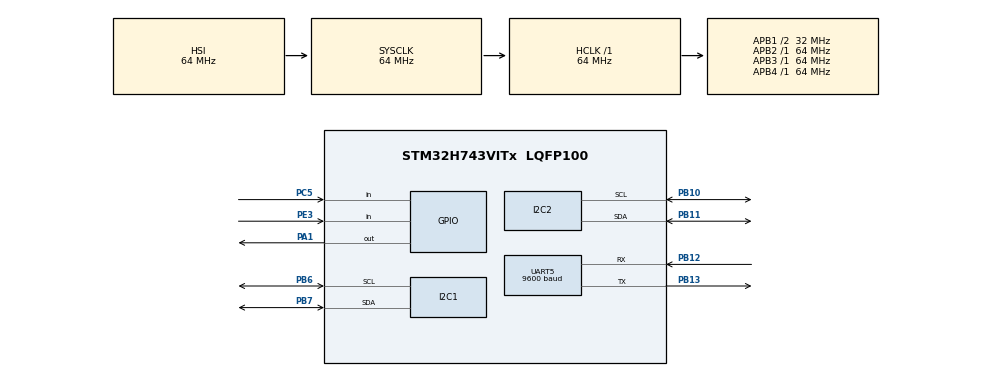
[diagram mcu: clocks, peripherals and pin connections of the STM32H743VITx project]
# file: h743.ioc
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I2C1.OwnAddress=0x76
I2C1.Timing=0x00707CBB
I2C2.OwnAddress=0x78
I2C2.Timing=0x00707CBB
Mcu.Family=STM32H7
Mcu.Name=STM32H743VITx
Mcu.Package=LQFP100
NVIC.PriorityGroup=NVIC_PRIORITYGROUP_4
NVIC.TIM6_DAC_IRQn=true\:0\:0\:false\:false\:true\:true\:true\:true
NVIC.UART5_IRQn=true\:0\:0\:false\:false\:true\:true\:true\:true
PA1.Signal=GPIO_Output
PB10.Mode=I2C
PB10.Signal=I2C2_SCL
PB11.Mode=I2C
PB11.Signal=I2C2_SDA
PB12.Mode=Asynchronous
PB12.Signal=UART5_RX
PB13.Mode=Asynchronous
PB13.Signal=UART5_TX
PB6.Mode=I2C
PB6.Signal=I2C1_SCL
PB7.Mode=I2C
PB7.Signal=I2C1_SDA
PC5.Signal=GPIO_Input
PE3.GPIO_PuPd=GPIO_PULLUP
PE3.Signal=GPIO_Input
ProjectManager.HeapSize=0x200
ProjectManager.StackSize=0x400
ProjectManager.TargetToolchain=STM32CubeIDE
RCC.ADCFreq_Value=129000000
RCC.APB1Freq_Value=32000000
RCC.APB2Freq_Value=64000000
RCC.APB3Freq_Value=64000000
RCC.APB4Freq_Value=64000000
RCC.CECEnable-ClockTree=true
RCC.CortexFreq_Value=64000000
RCC.D2PPRE1=RCC_APB1_DIV2
RCC.HCLKFreq_Value=64000000
RCC.HSE_VALUE=25000000
RCC.LPTIM2Enable-ClockTree=true
RCC.LPTIM345Enable-ClockTree=false
RCC.PLL1_VCO_SEL-AdvancedSettings=RCC_PLL1VCOMEDIUM
RCC.PLL2_VCI_Range-AdvancedSettings=RCC_PLL2VCIRANGE_0
RCC.PWR_Regulator_Voltage_Scale=PWR_REGULATOR_VOLTAGE_SCALE1
RCC.SYSCLKFreq_VALUE=64000000
RCC.USBFreq_Value=129000000
TIM6.AutoReloadPreload=TIM_AUTORELOAD_PRELOAD_ENABLE
TIM6.Period=5000-1
TIM6.Prescaler=6400-1
UART5.BaudRate=9600
VP_TIM6_VS_ClockSourceINT.Mode=Enable_Timer
board=custom

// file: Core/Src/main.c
/* USER CODE BEGIN Header */
/**
  ******************************************************************************
  * @file           : main.c
  * @brief          : Main program body
  ******************************************************************************
  * @attention
  *
  * Copyright (c) 2023 STMicroelectronics.
  * All rights reserved.
  *
  * This software is licensed under terms that can be found in the LICENSE file
  * in the root directory of this software component.
  * If no LICENSE file comes with this software, it is provided AS-IS.
  *
  ******************************************************************************
  */
#include <stdio.h>
#include <string.h>
#include <stdlib.h>
#include "bmp/bmp280.h"
#include "oled/ssd1306.h"
/* USER CODE END Header */
#include "main.h"

I2C_HandleTypeDef hi2c1;
I2C_HandleTypeDef hi2c2;

TIM_HandleTypeDef htim6;

UART_HandleTypeDef huart5;

/* USER CODE BEGIN PV */
uint8_t Buffer[256];
char buf[1024];
int length;
/* USER CODE END PV */

void SystemClock_Config(void);

static void MX_GPIO_Init(void);

static void MX_I2C1_Init(void);

static void MX_I2C2_Init(void);

static void MX_TIM6_Init(void);

static void MX_UART5_Init(void);

/* USER CODE BEGIN 0 */

void OLED_Write(uint8_t x, uint8_t y, char *text) {
    ssd1306_SetCursor(x, y);
    ssd1306_WriteString(text, Font_11x18, White);
}

void OLED_Show(float value, char *prefix, char *unit) {
    ssd1306_Fill(Black);
    OLED_Write(1, 5, prefix);
    uint8_t *tempText[256];
    sprintf((char *) tempText, "%.2f %s", value, unit);
    OLED_Write(1, 25, (char *) tempText);
    ssd1306_UpdateScreen();
}

void HAL_TIM_PeriodElapsedCallback(TIM_HandleTypeDef *htim) {
    if (htim->Instance == TIM6) {
        GPIO_PinState status = HAL_GPIO_ReadPin(GPIOA,
                                                GPIO_PIN_1); //can not use this when output is op always read reset
        HAL_GPIO_WritePin(GPIOA, GPIO_PIN_1, !status);
    }
}

//加入以下代码,支持printf函数,而不�??要�?�择use MicroLIB
//#define PUTCHAR_PROTOTYPE int fputc(int ch, FILE *f)
#if 1
//#pragma import(__use_no_semihosting)
//标准库需要的支持函数
struct __FILE {
    int handle;
};

FILE __stdout;

//定义_sys_exit()以避免使用半主机模式
void _sys_exit(int x) {
    x = x;
}

//重定义fputc函数
int fputc(int ch, FILE *f) {
    while ((UART5->ISR & 0X40) == 0);//循环发�??,直到发�?�完�??
    UART5->TDR = (uint8_t) ch;
    return ch;
}

#endif

/*********************************************************************/

//串口1初始�??

//STM32H7工程模板-HAL库函数版�??
//DevEBox  大越创新
//淘宝店铺：mcudev.taobao.com
//淘宝店铺：shop389957290.taobao.com

/*********************************************************************/

UART_HandleTypeDef huart5; //UART句柄

uint8_t rxBuffer[100];    // 接收缓冲�??
uint8_t rxData;            // 用于存储单个接收的字�??
uint16_t rxIndex = 0;      // 接收缓冲区索�??
_Bool newDataReceived = 0; // 接收到新数据的标�??

void SystemClock_Config(void);

static void MX_GPIO_Init(void);

static void removeNewlines(char *str);

// 前向声明结构体
typedef struct GPS_INFO GPS_INFO;

// 定义结构体
struct GPS_INFO {
    uint8_t *data;
    char data2[100];
};

struct GPS_INFO GET_GPS_INFO(const char *preTag);

//struct GPS_INFO gga;
//struct GPS_INFO gsv;
//struct GPS_INFO txt;
void processData(void) {
    // 在这里解析NMEA数据，例如提取GPS定位信息
    // 这里假设NMEA语句�??'$'�??头，以回车换行符'\r\n'结尾
    // 你需要根据ATGM336H的文档来解析具体的NMEA语句格式
//    $GNRMC,162641.000,V,,,,,,,270823,,,M*5A
//    $GNVTG,,,,,,,,,M*2D
//    $GNZDA,162641.000,27,08,2023,00,00*40
//    $GPTXT,01,01,01,ANTENNA OK*35
//    $GNGGA,162642.000,,,,,0,00,25.5,,,,,,*7F
//    $GNGLL,,,,,162642.000,V,M*62
//    $GPGSA,A,1,,,,,,,,,,,,,25.5,25.5,25.5*02
//    $BDGSA,A,1,,,,,,,,,,,,,25.5,25.5,25.5*13
//    $GPGSV,3,1,09,02,21,168,,04,41,219,,07,29,318,,09,41,260,*79
//    $GPGSV,3,2,09,16,36,053,,21,25,163,,26,15,077,,27,60,039,*7C
//    $GPGSV,3,3,09,31,15,129,11*4C
    struct GPS_INFO gnrmc = GET_GPS_INFO("$GNRMC");
    struct GPS_INFO gnvtg = GET_GPS_INFO("$GNVTG");
    struct GPS_INFO gnzda = GET_GPS_INFO("$GNZDA");
    struct GPS_INFO gptxt = GET_GPS_INFO("$GPTXT");
    struct GPS_INFO gngga = GET_GPS_INFO("$GNGGA");
    struct GPS_INFO gngll = GET_GPS_INFO("$GNGLL");
    struct GPS_INFO gpgsa = GET_GPS_INFO("$GPGSA");
    struct GPS_INFO bdgsa = GET_GPS_INFO("$BDGSA");
    struct GPS_INFO gpgsv = GET_GPS_INFO("$GPGSV");

    struct GPS_INFO gngsa = GET_GPS_INFO("$GNGSA");
    struct GPS_INFO gngbs = GET_GPS_INFO("$GNGBS");
    struct GPS_INFO gngns = GET_GPS_INFO("$GNGNS");
    struct GPS_INFO gpgga = GET_GPS_INFO("$GPGGA");

    struct GPS_INFO bdgsv = GET_GPS_INFO("$BDGSV");
    struct GPS_INFO bdgga = GET_GPS_INFO("$BDGGA");

    struct GPS_INFO qzgsv = GET_GPS_INFO("$QZGSV");
    struct GPS_INFO gagsv = GET_GPS_INFO("$GAGSV");

    struct GPS_INFO glgsv = GET_GPS_INFO("$GLGSV");

    size_t gnggaL = (gngga.data == NULL) ? 0 : strlen((char *) gngga.data);
    size_t gpgsvL = (gpgsv.data == NULL) ? 0 : strlen((char *) gpgsv.data);
    size_t gptxtL = (gptxt.data == NULL) ? 0 : strlen((char *) gptxt.data);
    size_t gpggaL = (gpgga.data == NULL) ? 0 : strlen((char *) gpgga.data);
    size_t bdgsvL = (bdgsv.data == NULL) ? 0 : strlen((char *) bdgsv.data);
    size_t bdggaL = (bdgga.data == NULL) ? 0 : strlen((char *) bdgga.data);
    size_t qzgsvL = (qzgsv.data == NULL) ? 0 : strlen((char *) qzgsv.data);
    size_t gagsvL = (gagsv.data == NULL) ? 0 : strlen((char *) gagsv.data);
    size_t glgsvL = (glgsv.data == NULL) ? 0 : strlen((char *) glgsv.data);
    size_t gnzdaL = (gnzda.data == NULL) ? 0 : strlen((char *) gnzda.data);
    size_t gnvtgL = (gnvtg.data == NULL) ? 0 : strlen((char *) gnvtg.data);
    size_t gngllL = (gngll.data == NULL) ? 0 : strlen((char *) gngll.data);
    size_t gngsaL = (gngsa.data == NULL) ? 0 : strlen((char *) gngsa.data);
    size_t gngbsL = (gngbs.data == NULL) ? 0 : strlen((char *) gngbs.data);
    size_t gngnsL = (gngns.data == NULL) ? 0 : strlen((char *) gngns.data);
    size_t gpgsaL = (gpgsa.data == NULL) ? 0 : strlen((char *) gpgsa.data);
    size_t bdgsaL = (bdgsa.data == NULL) ? 0 : strlen((char *) bdgsa.data);

    size_t totalLength =
            gnggaL + gpgsvL + gptxtL + gpggaL + bdgsvL + bdggaL + qzgsvL + gagsvL + glgsvL + gnzdaL + gnvtgL + gngllL +
            gngsaL + gngbsL + gngnsL + gpgsaL + bdgsaL;

    char *res = (char *) malloc(totalLength + 1); // Allocate memory for concatenated string
    res[0] = '\0'; // Initialize the concatenated string as an empty string

    if (gngga.data != NULL) strcat(res, (char *) gngga.data);
    if (gpgsv.data != NULL) strcat(res, (char *) gpgsv.data);
    if (gptxt.data != NULL) strcat(res, (char *) gptxt.data);
    if (gpgga.data != NULL) strcat(res, (char *) gpgga.data);
    if (bdgsv.data != NULL) strcat(res, (char *) bdgsv.data);
    if (bdgga.data != NULL) strcat(res, (char *) bdgga.data);
    if (qzgsv.data != NULL) strcat(res, (char *) qzgsv.data);
    if (gagsv.data != NULL) strcat(res, (char *) gagsv.data);
    if (glgsv.data != NULL) strcat(res, (char *) glgsv.data);
    if (gnzda.data != NULL) strcat(res, (char *) gnzda.data);
    if (gnvtg.data != NULL) strcat(res, (char *) gnvtg.data);
    if (gngll.data != NULL) strcat(res, (char *) gngll.data);
    if (gngsa.data != NULL) strcat(res, (char *) gngsa.data);
    if (gngbs.data != NULL) strcat(res, (char *) gngbs.data);
    if (gngns.data != NULL) strcat(res, (char *) gngns.data);
    if (gpgsa.data != NULL) strcat(res, (char *) gpgsa.data);
    if (bdgsa.data != NULL) strcat(res, (char *) bdgsa.data);

    if (res != NULL && strlen(res) != 0) {

        // Now 'res' contains the concatenated string
        // ...
        ssd1306_Fill(Black);
        ssd1306_SetCursor(0, 0);
        ssd1306_WriteString_auto_newline((char *) res, Font_7x10, White);
        ssd1306_UpdateScreen();
        HAL_Delay(100);
        // Don't forget to free the allocated memory when done
    }
    free(res);

}

struct GPS_INFO GET_GPS_INFO(const char *preTag) {

    struct GPS_INFO info;
    if (strncmp((const char *) rxBuffer, preTag, 6) == 0) {
        // 如果是GPRMC语句，解析定位信�??
        // 例如�??$GPRMC,123519,A,4807.038,N,01131.000,E,022.4,084.4,230394,003.1,W*6A
        // 在这里提取需要的定位数据并进行处�??
        // 例如：latitude, longitude, altitude�??
        info.data = rxBuffer;
        removeNewlines(info.data);
        return info;
    }
    info.data = NULL;
    return info;
}

void removeNewlines(char *str) {
    size_t len = strlen(str);
    if (len > 0 && (str[len - 1] == '\n' || str[len - 1] == '\r')) {
        str[len - 1] = '\0'; // Set the last character to null terminator
        len--;
    }
    if (len > 0 && (str[len - 1] == '\n' || str[len - 1] == '\r')) {
        str[len - 1] = '\0'; // Set the last character to null terminator
    }
}

void HAL_UART_RxCpltCallback(UART_HandleTypeDef *huart) {
    if (huart->Instance == UART5)//
    {
        rxBuffer[rxIndex] = rxData; // 存储接收到的字节
        if (rxIndex > 99) {
            newDataReceived = 1; // 接收到新数据
            rxIndex = 0; // 重置缓冲区索引
        } else {
            rxIndex++;
        }
        if (rxData == '\n') {
            // 收到换行符，表示数据接收完毕
            rxBuffer[rxIndex] = '\0'; // 添加字符串结束
            rxIndex = 0; // 重置缓冲区索引
        }
        HAL_UART_Receive_IT(&huart5, &rxData, 1); // 继续接收下一个
    }
}
/* USER CODE END 0 */

int main(void) {

    /* MCU Configuration--------------------------------------------------------*/

    /* Reset of all peripherals, Initializes the Flash interface and the Systick. */
    HAL_Init();

    /* Configure the system clock */
    SystemClock_Config();

    /* Initialize all configured peripherals */
    MX_GPIO_Init();
    MX_I2C1_Init();
    MX_I2C2_Init();
    MX_TIM6_Init();
    MX_UART5_Init();
    /* USER CODE BEGIN 2 */
    ssd1306_Init();

    HAL_TIM_Base_Start_IT(&htim6); // important!!! Enable TIM6 interrupt

    HAL_UART_Receive_IT(&huart5, &rxData, 1); // 初始接收数据，使用中断方式
    while (HAL_GPIO_ReadPin(GPIOE, GPIO_PIN_3) == 1) {
//        if (newDataReceived){
        processData(); // 解析和处理接收到的数据
//        }
    }

    /* USER CODE END 2 */

    /* Infinite loop */
    /* USER CODE BEGIN WHILE */
    uint8_t Data[256];
    BMP280_HandleTypedef bmp280;
    float pressure, temperature, humidity;
    bmp280_init_default_params(&bmp280.params);
    bmp280.addr = BMP280_I2C_ADDRESS_0;
    bmp280.i2c = &hi2c1;

    while (!bmp280_init(&bmp280, &bmp280.params)) {
        HAL_Delay(2000);
    }
    bool bme280p = bmp280.id == BME280_CHIP_ID;
    sprintf((char *) Data, "BMP280: found %s", bme280p ? "BME280" : "BMP280");

    ssd1306_Fill(Black);
    ssd1306_SetCursor(0, 0);
    ssd1306_WriteString_auto_newline(Data, Font_11x18, White);
    ssd1306_UpdateScreen();
    HAL_Delay(2000);
    while (1) {
        /* USER CODE END WHILE */

        /* USER CODE BEGIN 3 */
        ssd1306_Fill(Black);
        HAL_Delay(100);
        while (!bmp280_read_float(&bmp280, &temperature, &pressure, &humidity)) {
            sprintf((char *) Data, "Temperature/pressure reading failed\n");
            HAL_Delay(2000);
        }

        OLED_Show(pressure, "Pressure:", "Pa");
        HAL_Delay(1000);
        OLED_Show(temperature, "Temperature:", "C");
        HAL_Delay(1000);
        if (bme280p) {
            OLED_Show(humidity, "Humidity:", "");
            HAL_Delay(1000);
        } else {
            sprintf((char *) Data, "\n");
        }
    }
    /* USER CODE END 3 */
}

void SystemClock_Config(void) {
    RCC_OscInitTypeDef RCC_OscInitStruct = {0};
    RCC_ClkInitTypeDef RCC_ClkInitStruct = {0};

    /** Supply configuration update enable
    */
    HAL_PWREx_ConfigSupply(PWR_LDO_SUPPLY);

    /** Configure the main internal regulator output voltage
    */
    __HAL_PWR_VOLTAGESCALING_CONFIG(PWR_REGULATOR_VOLTAGE_SCALE1);

    while (!__HAL_PWR_GET_FLAG(PWR_FLAG_VOSRDY)) {}

    /** Initializes the RCC Oscillators according to the specified parameters
    * in the RCC_OscInitTypeDef structure.
    */
    RCC_OscInitStruct.OscillatorType = RCC_OSCILLATORTYPE_HSI;
    RCC_OscInitStruct.HSIState = RCC_HSI_DIV1;
    RCC_OscInitStruct.HSICalibrationValue = RCC_HSICALIBRATION_DEFAULT;
    RCC_OscInitStruct.PLL.PLLState = RCC_PLL_NONE;
    if (HAL_RCC_OscConfig(&RCC_OscInitStruct) != HAL_OK) {
        Error_Handler();
    }

    /** Initializes the CPU, AHB and APB buses clocks
    */
    RCC_ClkInitStruct.ClockType = RCC_CLOCKTYPE_HCLK | RCC_CLOCKTYPE_SYSCLK
                                  | RCC_CLOCKTYPE_PCLK1 | RCC_CLOCKTYPE_PCLK2
                                  | RCC_CLOCKTYPE_D3PCLK1 | RCC_CLOCKTYPE_D1PCLK1;
    RCC_ClkInitStruct.SYSCLKSource = RCC_SYSCLKSOURCE_HSI;
    RCC_ClkInitStruct.SYSCLKDivider = RCC_SYSCLK_DIV1;
    RCC_ClkInitStruct.AHBCLKDivider = RCC_HCLK_DIV1;
    RCC_ClkInitStruct.APB3CLKDivider = RCC_APB3_DIV1;
    RCC_ClkInitStruct.APB1CLKDivider = RCC_APB1_DIV2;
    RCC_ClkInitStruct.APB2CLKDivider = RCC_APB2_DIV1;
    RCC_ClkInitStruct.APB4CLKDivider = RCC_APB4_DIV1;

    if (HAL_RCC_ClockConfig(&RCC_ClkInitStruct, FLASH_LATENCY_0) != HAL_OK) {
        Error_Handler();
    }
}

static void MX_I2C1_Init(void) {

    hi2c1.Instance = I2C1;
    hi2c1.Init.Timing = 0x00707CBB;
    hi2c1.Init.OwnAddress1 = 236;
    hi2c1.Init.AddressingMode = I2C_ADDRESSINGMODE_7BIT;
    hi2c1.Init.DualAddressMode = I2C_DUALADDRESS_DISABLE;
    hi2c1.Init.OwnAddress2 = 0;
    hi2c1.Init.OwnAddress2Masks = I2C_OA2_NOMASK;
    hi2c1.Init.GeneralCallMode = I2C_GENERALCALL_DISABLE;
    hi2c1.Init.NoStretchMode = I2C_NOSTRETCH_DISABLE;
    if (HAL_I2C_Init(&hi2c1) != HAL_OK) {
        Error_Handler();
    }

    /** Configure Analogue filter
    */
    if (HAL_I2CEx_ConfigAnalogFilter(&hi2c1, I2C_ANALOGFILTER_ENABLE) != HAL_OK) {
        Error_Handler();
    }

    /** Configure Digital filter
    */
    if (HAL_I2CEx_ConfigDigitalFilter(&hi2c1, 0) != HAL_OK) {
        Error_Handler();
    }

}

static void MX_I2C2_Init(void) {

    hi2c2.Instance = I2C2;
    hi2c2.Init.Timing = 0x00707CBB;
    hi2c2.Init.OwnAddress1 = 240;
    hi2c2.Init.AddressingMode = I2C_ADDRESSINGMODE_7BIT;
    hi2c2.Init.DualAddressMode = I2C_DUALADDRESS_DISABLE;
    hi2c2.Init.OwnAddress2 = 0;
    hi2c2.Init.OwnAddress2Masks = I2C_OA2_NOMASK;
    hi2c2.Init.GeneralCallMode = I2C_GENERALCALL_DISABLE;
    hi2c2.Init.NoStretchMode = I2C_NOSTRETCH_DISABLE;
    if (HAL_I2C_Init(&hi2c2) != HAL_OK) {
        Error_Handler();
    }

    /** Configure Analogue filter
    */
    if (HAL_I2CEx_ConfigAnalogFilter(&hi2c2, I2C_ANALOGFILTER_ENABLE) != HAL_OK) {
        Error_Handler();
    }

    /** Configure Digital filter
    */
    if (HAL_I2CEx_ConfigDigitalFilter(&hi2c2, 0) != HAL_OK) {
        Error_Handler();
    }

}

static void MX_TIM6_Init(void) {

    TIM_MasterConfigTypeDef sMasterConfig = {0};

    /* USER CODE BEGIN TIM6_Init 1 */
    //interrupt time calculation: (6400-1)*(5000-1)/64M=0.5s
    /* USER CODE END TIM6_Init 1 */
    htim6.Instance = TIM6;
    htim6.Init.Prescaler = 6400 - 1;
    htim6.Init.CounterMode = TIM_COUNTERMODE_UP;
    htim6.Init.Period = 5000 - 1;
    htim6.Init.AutoReloadPreload = TIM_AUTORELOAD_PRELOAD_ENABLE;
    if (HAL_TIM_Base_Init(&htim6) != HAL_OK) {
        Error_Handler();
    }
    sMasterConfig.MasterOutputTrigger = TIM_TRGO_RESET;
    sMasterConfig.MasterSlaveMode = TIM_MASTERSLAVEMODE_DISABLE;
    if (HAL_TIMEx_MasterConfigSynchronization(&htim6, &sMasterConfig) != HAL_OK) {
        Error_Handler();
    }

}

static void MX_UART5_Init(void) {

    huart5.Instance = UART5;
    huart5.Init.BaudRate = 9600;
    huart5.Init.WordLength = UART_WORDLENGTH_8B;
    huart5.Init.StopBits = UART_STOPBITS_1;
    huart5.Init.Parity = UART_PARITY_NONE;
    huart5.Init.Mode = UART_MODE_TX_RX;
    huart5.Init.HwFlowCtl = UART_HWCONTROL_NONE;
    huart5.Init.OverSampling = UART_OVERSAMPLING_16;
    huart5.Init.OneBitSampling = UART_ONE_BIT_SAMPLE_DISABLE;
    huart5.Init.ClockPrescaler = UART_PRESCALER_DIV1;
    huart5.AdvancedInit.AdvFeatureInit = UART_ADVFEATURE_NO_INIT;
    if (HAL_UART_Init(&huart5) != HAL_OK) {
        Error_Handler();
    }
    if (HAL_UARTEx_SetTxFifoThreshold(&huart5, UART_TXFIFO_THRESHOLD_1_8) != HAL_OK) {
        Error_Handler();
    }
    if (HAL_UARTEx_SetRxFifoThreshold(&huart5, UART_RXFIFO_THRESHOLD_1_8) != HAL_OK) {
        Error_Handler();
    }
    if (HAL_UARTEx_DisableFifoMode(&huart5) != HAL_OK) {
        Error_Handler();
    }

}

static void MX_GPIO_Init(void) {
    GPIO_InitTypeDef GPIO_InitStruct = {0};

    /* GPIO Ports Clock Enable */
    __HAL_RCC_GPIOE_CLK_ENABLE();
    __HAL_RCC_GPIOA_CLK_ENABLE();
    __HAL_RCC_GPIOC_CLK_ENABLE();
    __HAL_RCC_GPIOB_CLK_ENABLE();

    /*Configure GPIO pin Output Level */
    HAL_GPIO_WritePin(GPIOA, GPIO_PIN_1, GPIO_PIN_RESET);

    /*Configure GPIO pin : PE3 */
    GPIO_InitStruct.Pin = GPIO_PIN_3;
    GPIO_InitStruct.Mode = GPIO_MODE_INPUT;
    GPIO_InitStruct.Pull = GPIO_PULLUP;
    HAL_GPIO_Init(GPIOE, &GPIO_InitStruct);

    /*Configure GPIO pin : PA1 */
    GPIO_InitStruct.Pin = GPIO_PIN_1;
    GPIO_InitStruct.Mode = GPIO_MODE_OUTPUT_PP;
    GPIO_InitStruct.Pull = GPIO_NOPULL;
    GPIO_InitStruct.Speed = GPIO_SPEED_FREQ_LOW;
    HAL_GPIO_Init(GPIOA, &GPIO_InitStruct);

    /*Configure GPIO pin : PC5 */
    GPIO_InitStruct.Pin = GPIO_PIN_5;
    GPIO_InitStruct.Mode = GPIO_MODE_INPUT;
    GPIO_InitStruct.Pull = GPIO_NOPULL;
    HAL_GPIO_Init(GPIOC, &GPIO_InitStruct);

}

void Error_Handler(void) {
    __disable_irq();
    while (1) {
    }
}
